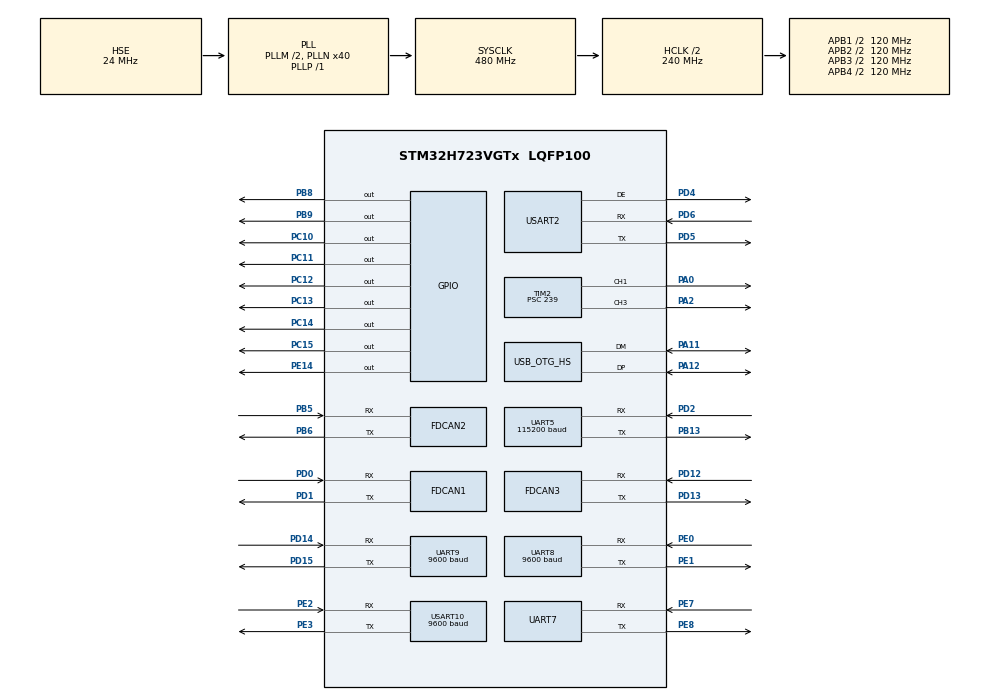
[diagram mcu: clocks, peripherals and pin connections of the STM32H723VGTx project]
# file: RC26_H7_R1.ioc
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CORTEX_M7.AccessPermission-Cortex_Memory_Protection_Unit_Region0_Settings=MPU_REGION_FULL_ACCESS
CORTEX_M7.BaseAddress-Cortex_Memory_Protection_Unit_Region0_Settings=0x20000000
CORTEX_M7.Enable-Cortex_Memory_Protection_Unit_Region0_Settings=MPU_REGION_ENABLE
CORTEX_M7.IsBufferable-Cortex_Memory_Protection_Unit_Region0_Settings=MPU_ACCESS_BUFFERABLE
CORTEX_M7.IsCacheable-Cortex_Memory_Protection_Unit_Region0_Settings=MPU_ACCESS_CACHEABLE
CORTEX_M7.MPU_Control=MPU_PRIVILEGED_DEFAULT
CORTEX_M7.Size-Cortex_Memory_Protection_Unit_Region0_Settings=MPU_REGION_SIZE_512KB
CORTEX_M7.TypeExtField-Cortex_Memory_Protection_Unit_Region0_Settings=MPU_TEX_LEVEL1
CORTEX_M7.default_mode_Activation=0
Dma.Request0=UART5_RX
Dma.Request1=UART7_RX
Dma.Request2=USART2_RX
Dma.UART5_RX.0.Direction=DMA_PERIPH_TO_MEMORY
Dma.UART5_RX.0.EventEnable=DISABLE
Dma.UART5_RX.0.FIFOMode=DMA_FIFOMODE_DISABLE
Dma.UART5_RX.0.Instance=DMA1_Stream2
Dma.UART5_RX.0.MemDataAlignment=DMA_MDATAALIGN_BYTE
Dma.UART5_RX.0.MemInc=DMA_MINC_ENABLE
Dma.UART5_RX.0.Mode=DMA_CIRCULAR
Dma.UART5_RX.0.PeriphDataAlignment=DMA_PDATAALIGN_BYTE
Dma.UART5_RX.0.PeriphInc=DMA_PINC_DISABLE
Dma.UART5_RX.0.Polarity=HAL_DMAMUX_REQ_GEN_RISING
Dma.UART5_RX.0.Priority=DMA_PRIORITY_VERY_HIGH
Dma.UART5_RX.0.RequestNumber=1
Dma.UART5_RX.0.SignalID=NONE
Dma.UART5_RX.0.SyncEnable=DISABLE
Dma.UART5_RX.0.SyncPolarity=HAL_DMAMUX_SYNC_NO_EVENT
Dma.UART5_RX.0.SyncRequestNumber=1
Dma.UART5_RX.0.SyncSignalID=NONE
Dma.UART7_RX.1.Direction=DMA_PERIPH_TO_MEMORY
Dma.UART7_RX.1.EventEnable=DISABLE
Dma.UART7_RX.1.FIFOMode=DMA_FIFOMODE_DISABLE
Dma.UART7_RX.1.Instance=DMA1_Stream3
Dma.UART7_RX.1.MemDataAlignment=DMA_MDATAALIGN_BYTE
Dma.UART7_RX.1.MemInc=DMA_MINC_ENABLE
Dma.UART7_RX.1.Mode=DMA_NORMAL
Dma.UART7_RX.1.PeriphDataAlignment=DMA_PDATAALIGN_BYTE
Dma.UART7_RX.1.PeriphInc=DMA_PINC_DISABLE
Dma.UART7_RX.1.Polarity=HAL_DMAMUX_REQ_GEN_RISING
Dma.UART7_RX.1.Priority=DMA_PRIORITY_LOW
Dma.UART7_RX.1.RequestNumber=1
Dma.UART7_RX.1.SignalID=NONE
Dma.UART7_RX.1.SyncEnable=DISABLE
Dma.UART7_RX.1.SyncPolarity=HAL_DMAMUX_SYNC_NO_EVENT
Dma.UART7_RX.1.SyncRequestNumber=1
Dma.UART7_RX.1.SyncSignalID=NONE
Dma.USART2_RX.2.Direction=DMA_PERIPH_TO_MEMORY
Dma.USART2_RX.2.EventEnable=DISABLE
Dma.USART2_RX.2.FIFOMode=DMA_FIFOMODE_DISABLE
Dma.USART2_RX.2.Instance=DMA1_Stream0
Dma.USART2_RX.2.MemDataAlignment=DMA_MDATAALIGN_BYTE
Dma.USART2_RX.2.MemInc=DMA_MINC_ENABLE
Dma.USART2_RX.2.Mode=DMA_CIRCULAR
Dma.USART2_RX.2.PeriphDataAlignment=DMA_PDATAALIGN_BYTE
Dma.USART2_RX.2.PeriphInc=DMA_PINC_DISABLE
Dma.USART2_RX.2.Polarity=HAL_DMAMUX_REQ_GEN_RISING
Dma.USART2_RX.2.Priority=DMA_PRIORITY_LOW
Dma.USART2_RX.2.RequestNumber=1
Dma.USART2_RX.2.SignalID=NONE
Dma.USART2_RX.2.SyncEnable=DISABLE
Dma.USART2_RX.2.SyncPolarity=HAL_DMAMUX_SYNC_NO_EVENT
Dma.USART2_RX.2.SyncRequestNumber=1
Dma.USART2_RX.2.SyncSignalID=NONE
FDCAN1.CalculateBaudRateNominal=1000000
FDCAN1.CalculateTimeBitNominal=1000
FDCAN1.CalculateTimeQuantumNominal=25.0
FDCAN1.DataPrescaler=3
FDCAN1.DataSyncJumpWidth=10
FDCAN1.DataTimeSeg1=29
FDCAN1.DataTimeSeg2=10
FDCAN1.NominalPrescaler=3
FDCAN1.NominalSyncJumpWidth=10
FDCAN1.NominalTimeSeg1=29
FDCAN1.NominalTimeSeg2=10
FDCAN1.RxFifo0ElmtsNbr=12
FDCAN1.StdFiltersNbr=1
FDCAN1.TxFifoQueueElmtsNbr=12
FDCAN2.CalculateBaudRateNominal=1000000
FDCAN2.CalculateTimeBitNominal=1000
FDCAN2.CalculateTimeQuantumNominal=25.0
FDCAN2.DataPrescaler=3
FDCAN2.DataSyncJumpWidth=10
FDCAN2.DataTimeSeg1=29
FDCAN2.DataTimeSeg2=10
FDCAN2.MessageRAMOffset=854
FDCAN2.NominalPrescaler=3
FDCAN2.NominalSyncJumpWidth=10
FDCAN2.NominalTimeSeg1=29
FDCAN2.NominalTimeSeg2=10
FDCAN2.RxFifo0ElmtsNbr=12
FDCAN2.StdFiltersNbr=1
FDCAN2.TxFifoQueueElmtsNbr=12
FDCAN3.CalculateBaudRateNominal=1000000
FDCAN3.CalculateTimeBitNominal=1000
FDCAN3.CalculateTimeQuantumNominal=25.0
FDCAN3.DataPrescaler=3
FDCAN3.DataSyncJumpWidth=10
FDCAN3.DataTimeSeg1=29
FDCAN3.DataTimeSeg2=10
FDCAN3.MessageRAMOffset=1707
FDCAN3.NominalPrescaler=3
FDCAN3.NominalSyncJumpWidth=10
FDCAN3.NominalTimeSeg1=29
FDCAN3.NominalTimeSeg2=10
FDCAN3.RxFifo0ElmtsNbr=12
FDCAN3.StdFiltersNbr=1
FDCAN3.TxFifoQueueElmtsNbr=12
FREERTOS.Tasks01=defaultTask,24,128,StartDefaultTask,Default,NULL,Dynamic,NULL,NULL;FreeTask,32,128,Free_Task,As weak,NULL,Dynamic,NULL,NULL;SentTask,48,128,Sent_Task,As weak,NULL,Dynamic,NULL,NULL
Mcu.Family=STM32H7
Mcu.Name=STM32H723VGTx
Mcu.Package=LQFP100
NVIC.DMA1_Stream0_IRQn=true\:5\:0\:false\:false\:true\:true\:false\:true\:true
NVIC.DMA1_Stream2_IRQn=true\:5\:0\:true\:false\:true\:true\:false\:true\:true
NVIC.DMA1_Stream3_IRQn=true\:5\:0\:false\:false\:true\:true\:false\:true\:true
NVIC.FDCAN1_IT0_IRQn=true\:6\:0\:true\:false\:true\:true\:true\:true\:true
NVIC.FDCAN2_IT0_IRQn=true\:6\:0\:true\:false\:true\:true\:true\:true\:true
NVIC.FDCAN3_IT0_IRQn=true\:6\:0\:true\:false\:true\:true\:true\:true\:true
NVIC.OTG_HS_IRQn=true\:5\:0\:false\:false\:true\:true\:true\:true\:true
NVIC.PriorityGroup=NVIC_PRIORITYGROUP_4
NVIC.TIM4_IRQn=true\:6\:0\:true\:false\:true\:true\:true\:true\:true
NVIC.TIM5_IRQn=true\:6\:0\:true\:false\:true\:true\:true\:true\:true
NVIC.TIM8_BRK_TIM12_IRQn=true\:5\:0\:false\:false\:true\:true\:true\:true\:true
NVIC.TIM8_UP_TIM13_IRQn=true\:15\:0\:false\:false\:true\:false\:false\:true\:true
NVIC.TimeBase=TIM8_UP_TIM13_IRQn
NVIC.TimeBaseIP=TIM8
NVIC.UART5_IRQn=true\:5\:0\:true\:false\:true\:true\:true\:true\:true
NVIC.UART7_IRQn=true\:5\:0\:true\:false\:true\:true\:true\:true\:true
NVIC.UART8_IRQn=true\:6\:0\:true\:false\:true\:true\:true\:true\:true
NVIC.UART9_IRQn=true\:6\:0\:true\:false\:true\:true\:true\:true\:true
NVIC.USART2_IRQn=true\:5\:0\:false\:false\:true\:true\:true\:true\:true
PA0.Signal=S_TIM2_CH1_ETR
PA11.Mode=Device_Only_FS
PA11.Signal=USB_OTG_HS_DM
PA12.Mode=Device_Only_FS
PA12.Signal=USB_OTG_HS_DP
PA13(JTMS/SWDIO).Mode=Serial_Wire
PA13(JTMS/SWDIO).Signal=DEBUG_JTMS-SWDIO
PA14(JTCK/SWCLK).Mode=Serial_Wire
PA14(JTCK/SWCLK).Signal=DEBUG_JTCK-SWCLK
PA2.Signal=S_TIM2_CH3
PB13.Mode=Asynchronous
PB13.Signal=UART5_TX
PB5.Mode=FDCAN_Activate
PB5.Signal=FDCAN2_RX
PB6.Mode=FDCAN_Activate
PB6.Signal=FDCAN2_TX
PB8.GPIO_PuPd=GPIO_PULLDOWN
PB8.Signal=GPIO_Output
PB9.GPIO_PuPd=GPIO_PULLDOWN
PB9.Signal=GPIO_Output
PC10.GPIO_PuPd=GPIO_PULLDOWN
PC10.Signal=GPIO_Output
PC11.GPIO_PuPd=GPIO_PULLDOWN
PC11.Signal=GPIO_Output
PC12.GPIO_PuPd=GPIO_PULLDOWN
PC12.Signal=GPIO_Output
PC13.GPIO_PuPd=GPIO_PULLUP
PC13.Signal=GPIO_Output
PC14-OSC32_IN.GPIO_PuPd=GPIO_PULLUP
PC14-OSC32_IN.Signal=GPIO_Output
PC15-OSC32_OUT.GPIO_PuPd=GPIO_PULLUP
PC15-OSC32_OUT.Signal=GPIO_Output
PD0.Mode=FDCAN_Activate
PD0.Signal=FDCAN1_RX
PD1.Mode=FDCAN_Activate
PD1.Signal=FDCAN1_TX
PD12.Mode=FDCAN_Activate
PD12.Signal=FDCAN3_RX
PD13.Mode=FDCAN_Activate
PD13.Signal=FDCAN3_TX
PD14.Mode=Asynchronous
PD14.Signal=UART9_RX
PD15.Mode=Asynchronous
PD15.Signal=UART9_TX
PD2.Mode=Asynchronous
PD2.Signal=UART5_RX
PD4.Mode=Hardware Flow Control (RS485)
PD4.Signal=USART2_DE
PD5.Mode=Asynchronous
PD5.Signal=USART2_TX
PD6.Mode=Asynchronous
PD6.Signal=USART2_RX
PE0.Mode=Asynchronous
PE0.Signal=UART8_RX
PE1.Mode=Asynchronous
PE1.Signal=UART8_TX
PE14.GPIO_PuPd=GPIO_PULLDOWN
PE14.Signal=GPIO_Output
PE2.Mode=Asynchronous
PE2.Signal=USART10_RX
PE3.Mode=Asynchronous
PE3.Signal=USART10_TX
PE7.Mode=Asynchronous
PE7.Signal=UART7_RX
PE8.Mode=Asynchronous
PE8.Signal=UART7_TX
PH0-OSC_IN.Mode=HSE-External-Oscillator
PH0-OSC_IN.Signal=RCC_OSC_IN
PH1-OSC_OUT.Mode=HSE-External-Oscillator
PH1-OSC_OUT.Signal=RCC_OSC_OUT
ProjectManager.HeapSize=0x200
ProjectManager.StackSize=0x400
ProjectManager.TargetToolchain=MDK-ARM V5.32
RCC.ADCFreq_Value=48375000
RCC.APB1Freq_Value=120000000
RCC.APB2Freq_Value=120000000
RCC.APB3Freq_Value=120000000
RCC.APB4Freq_Value=120000000
RCC.CortexFreq_Value=480000000
RCC.D1PPRE=RCC_APB3_DIV2
RCC.D2PPRE1=RCC_APB1_DIV2
RCC.D2PPRE2=RCC_APB2_DIV2
RCC.D3PPRE=RCC_APB4_DIV2
RCC.DIVM1=2
RCC.DIVN1=40
RCC.DIVP1=1
RCC.DIVQ1=4
RCC.HCLKFreq_Value=240000000
RCC.HPRE=RCC_HCLK_DIV2
RCC.HSE_VALUE=24000000
RCC.PLL2FRACN=0
RCC.PLL3FRACN=0
RCC.PLLFRACN=0
RCC.PLLSourceVirtual=RCC_PLLSOURCE_HSE
RCC.SYSCLKFreq_VALUE=480000000
RCC.SYSCLKSource=RCC_SYSCLKSOURCE_PLLCLK
RCC.USBCLockSelection=RCC_USBCLKSOURCE_HSI48
RCC.USBFreq_Value=48000000
SH.S_TIM2_CH1_ETR.0=TIM2_CH1,PWM Generation1 CH1
SH.S_TIM2_CH3.0=TIM2_CH3,PWM Generation3 CH3
TIM12.Period=19999
TIM12.Prescaler=23
TIM2.AutoReloadPreload=TIM_AUTORELOAD_PRELOAD_ENABLE
TIM2.Channel-PWM\ Generation1\ CH1=TIM_CHANNEL_1
TIM2.Channel-PWM\ Generation3\ CH3=TIM_CHANNEL_3
TIM2.Period=19999
TIM2.Prescaler=239
TIM4.Period=9999
TIM4.Prescaler=239
TIM5.Period=39999
TIM5.Prescaler=23
UART5.BaudRate=115200
UART5.Parity=PARITY_NONE
UART5.RxPinLevelInvertParam=UART_ADVFEATURE_RXINV_ENABLE
UART5.StopBits=UART_STOPBITS_1
UART5.WordLength=WORDLENGTH_8B
UART8.BaudRate=9600
UART9.BaudRate=9600
USART10.BaudRate=9600
USART10.VirtualMode=VM_ASYNC
USART2.VirtualMode-Asynchronous=VM_ASYNC
USART2.VirtualMode-Hardware\ Flow\ Control\ (RS485)=VM_ASYNC
USB_DEVICE.CLASS_NAME_HS=CDC
USB_DEVICE.VirtualMode=Cdc
USB_DEVICE.VirtualModeHS=Cdc_HS
USB_OTG_HS.VirtualMode-Device_Only_FS=Device_Only_FS
VP_FREERTOS_VS_CMSIS_V2.Mode=CMSIS_V2
VP_MEMORYMAP_VS_MEMORYMAP.Mode=CurAppReg
VP_SYS_VS_tim8.Mode=TIM8
VP_TIM12_VS_ClockSourceINT.Mode=Internal
VP_TIM2_VS_ClockSourceINT.Mode=Internal
VP_TIM4_VS_ClockSourceINT.Mode=Internal
VP_TIM5_VS_ClockSourceINT.Mode=Internal
VP_USB_DEVICE_VS_USB_DEVICE_CDC_HS.Mode=CDC_HS
board=custom

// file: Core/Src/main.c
/* USER CODE BEGIN Header */
/**
  ******************************************************************************
  * @file           : main.c
  * @brief          : Main program body
  ******************************************************************************
  * @attention
  *
  * Copyright (c) 2026 STMicroelectronics.
  * All rights reserved.
  *
  * This software is licensed under terms that can be found in the LICENSE file
  * in the root directory of this software component.
  * If no LICENSE file comes with this software, it is provided AS-IS.
  *
  ******************************************************************************
  */
/* USER CODE END Header */
#include "main.h"
#include "FreeRTOS.h"
#include "cmsis_os2.h"
#include "dma.h"
#include "fdcan.h"
#include "tim.h"
#include "usart.h"
#include "usb_device.h"
#include "gpio.h"

/* USER CODE BEGIN Includes */
#include "register.h"
#include "bsp_can.h"
#include "bsp_uart.h"
/* USER CODE END Includes */

void SystemClock_Config(void);
static void MPU_Config(void);
void MX_FREERTOS_Init(void);

int main(void)
{

  /* MPU Configuration--------------------------------------------------------*/
  MPU_Config();

  /* MCU Configuration--------------------------------------------------------*/

  /* Reset of all peripherals, Initializes the Flash interface and the Systick. */
  HAL_Init();

  /* Configure the system clock */
  SystemClock_Config();

  /* Initialize all configured peripherals */
  MX_GPIO_Init();
  MX_DMA_Init();
  MX_TIM2_Init();
  MX_TIM4_Init();
  MX_UART5_Init();
  MX_UART7_Init();
  MX_FDCAN1_Init();
  MX_FDCAN2_Init();
  MX_FDCAN3_Init();
  MX_TIM5_Init();
  MX_UART8_Init();
  MX_TIM12_Init();
  MX_USART2_UART_Init();
  MX_UART9_Init();
  MX_USART10_UART_Init();
  /* USER CODE BEGIN 2 */
  BSP_CAN_Init();
  BSP_USART_Init();

  HAL_Delay(1500);
  Structue_Init();
	HAL_Delay(5);
	HAL_GPIO_WritePin(GPIOC,GPIO_PIN_15,GPIO_PIN_SET);
	HAL_TIM_Base_Start(&htim2);
  HAL_TIM_PWM_Start(&htim2,TIM_CHANNEL_1 );
  HAL_TIM_PWM_Start(&htim2,TIM_CHANNEL_3 );

	HAL_TIM_Base_Start(&htim4);
	HAL_TIM_Base_Start_IT(&htim4);
	HAL_TIM_Base_Start(&htim5);
	HAL_TIM_Base_Start_IT(&htim5);
	 __HAL_TIM_SET_COMPARE(&htim2,TIM_CHANNEL_1,1600);
	 __HAL_TIM_SET_COMPARE(&htim2,TIM_CHANNEL_3,2500);
  /* USER CODE END 2 */

  /* Init scheduler */
  osKernelInitialize();  /* Call init function for freertos objects (in cmsis_os2.c) */
  MX_FREERTOS_Init();

  /* Start scheduler */
  osKernelStart();

  /* We should never get here as control is now taken by the scheduler */

  /* Infinite loop */
  while (1)
  {

  }
}

void SystemClock_Config(void)
{
  RCC_OscInitTypeDef RCC_OscInitStruct = {0};
  RCC_ClkInitTypeDef RCC_ClkInitStruct = {0};

  /** Supply configuration update enable
  */
  HAL_PWREx_ConfigSupply(PWR_LDO_SUPPLY);

  /** Configure the main internal regulator output voltage
  */
  __HAL_PWR_VOLTAGESCALING_CONFIG(PWR_REGULATOR_VOLTAGE_SCALE0);

  while(!__HAL_PWR_GET_FLAG(PWR_FLAG_VOSRDY)) {}

  /** Initializes the RCC Oscillators according to the specified parameters
  * in the RCC_OscInitTypeDef structure.
  */
  RCC_OscInitStruct.OscillatorType = RCC_OSCILLATORTYPE_HSI48|RCC_OSCILLATORTYPE_HSE;
  RCC_OscInitStruct.HSEState = RCC_HSE_ON;
  RCC_OscInitStruct.HSI48State = RCC_HSI48_ON;
  RCC_OscInitStruct.PLL.PLLState = RCC_PLL_ON;
  RCC_OscInitStruct.PLL.PLLSource = RCC_PLLSOURCE_HSE;
  RCC_OscInitStruct.PLL.PLLM = 2;
  RCC_OscInitStruct.PLL.PLLN = 40;
  RCC_OscInitStruct.PLL.PLLP = 1;
  RCC_OscInitStruct.PLL.PLLQ = 4;
  RCC_OscInitStruct.PLL.PLLR = 2;
  RCC_OscInitStruct.PLL.PLLRGE = RCC_PLL1VCIRANGE_3;
  RCC_OscInitStruct.PLL.PLLVCOSEL = RCC_PLL1VCOWIDE;
  RCC_OscInitStruct.PLL.PLLFRACN = 0;
  if (HAL_RCC_OscConfig(&RCC_OscInitStruct) != HAL_OK)
  {
    Error_Handler();
  }

  /** Initializes the CPU, AHB and APB buses clocks
  */
  RCC_ClkInitStruct.ClockType = RCC_CLOCKTYPE_HCLK|RCC_CLOCKTYPE_SYSCLK
                              |RCC_CLOCKTYPE_PCLK1|RCC_CLOCKTYPE_PCLK2
                              |RCC_CLOCKTYPE_D3PCLK1|RCC_CLOCKTYPE_D1PCLK1;
  RCC_ClkInitStruct.SYSCLKSource = RCC_SYSCLKSOURCE_PLLCLK;
  RCC_ClkInitStruct.SYSCLKDivider = RCC_SYSCLK_DIV1;
  RCC_ClkInitStruct.AHBCLKDivider = RCC_HCLK_DIV2;
  RCC_ClkInitStruct.APB3CLKDivider = RCC_APB3_DIV2;
  RCC_ClkInitStruct.APB1CLKDivider = RCC_APB1_DIV2;
  RCC_ClkInitStruct.APB2CLKDivider = RCC_APB2_DIV2;
  RCC_ClkInitStruct.APB4CLKDivider = RCC_APB4_DIV2;

  if (HAL_RCC_ClockConfig(&RCC_ClkInitStruct, FLASH_LATENCY_3) != HAL_OK)
  {
    Error_Handler();
  }
}

 /* MPU Configuration */

void MPU_Config(void)
{
  MPU_Region_InitTypeDef MPU_InitStruct = {0};

  /* Disables the MPU */
  HAL_MPU_Disable();

  /** Initializes and configures the Region and the memory to be protected
  */
  MPU_InitStruct.Enable = MPU_REGION_ENABLE;
  MPU_InitStruct.Number = MPU_REGION_NUMBER0;
  MPU_InitStruct.BaseAddress = 0x20000000;
  MPU_InitStruct.Size = MPU_REGION_SIZE_512KB;
  MPU_InitStruct.SubRegionDisable = 0x0;
  MPU_InitStruct.TypeExtField = MPU_TEX_LEVEL1;
  MPU_InitStruct.AccessPermission = MPU_REGION_FULL_ACCESS;
  MPU_InitStruct.DisableExec = MPU_INSTRUCTION_ACCESS_ENABLE;
  MPU_InitStruct.IsShareable = MPU_ACCESS_NOT_SHAREABLE;
  MPU_InitStruct.IsCacheable = MPU_ACCESS_CACHEABLE;
  MPU_InitStruct.IsBufferable = MPU_ACCESS_BUFFERABLE;

  HAL_MPU_ConfigRegion(&MPU_InitStruct);
  /* Enables the MPU */
  HAL_MPU_Enable(MPU_PRIVILEGED_DEFAULT);

}

void HAL_TIM_PeriodElapsedCallback(TIM_HandleTypeDef *htim)
{
  if (htim->Instance == TIM8)
  {
    HAL_IncTick();
  }
}

void Error_Handler(void)
{
  __disable_irq();
  while (1)
  {
  }
}

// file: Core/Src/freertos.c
/* USER CODE BEGIN Header */
/**
  ******************************************************************************
  * File Name          : freertos.c
  * Description        : Code for freertos applications
  ******************************************************************************
  * @attention
  *
  * Copyright (c) 2026 STMicroelectronics.
  * All rights reserved.
  *
  * This software is licensed under terms that can be found in the LICENSE file
  * in the root directory of this software component.
  * If no LICENSE file comes with this software, it is provided AS-IS.
  *
  ******************************************************************************
  */
/* USER CODE END Header */

#include "FreeRTOS.h"
#include "task.h"
#include "main.h"
#include "FreeRTOS.h"
#include "cmsis_os2.h"

/* USER CODE BEGIN Includes */
#include "Sensor_Task.h"
/* USER CODE END Includes */

/* Definitions for defaultTask */
osThreadId_t defaultTaskHandle;
const osThreadAttr_t defaultTask_attributes = {
  .name = "defaultTask",
  .stack_size = 128 * 4,
  .priority = (osPriority_t) osPriorityNormal,
};
/* Definitions for FreeTask */
osThreadId_t FreeTaskHandle;
const osThreadAttr_t FreeTask_attributes = {
  .name = "FreeTask",
  .stack_size = 128 * 4,
  .priority = (osPriority_t) osPriorityAboveNormal,
};
/* Definitions for SentTask */
osThreadId_t SentTaskHandle;
const osThreadAttr_t SentTask_attributes = {
  .name = "SentTask",
  .stack_size = 128 * 4,
  .priority = (osPriority_t) osPriorityRealtime,
};
/* Definitions for SensorTask */
osThreadId_t SensorTaskHandle;
const osThreadAttr_t SensorTask_attributes = {
  .name = "SensorTask",
  .stack_size = 512 * 4,
  .priority = (osPriority_t) osPriorityLow,
};

void StartDefaultTask(void *argument);
void Free_Task(void *argument);
void Sent_Task(void *argument);
void Sensor_Task(void *argument);

extern void MX_USB_DEVICE_Init(void);
void MX_FREERTOS_Init(void); /* (MISRA C 2004 rule 8.1) */

void MX_FREERTOS_Init(void) {

  /* Create the thread(s) */
  /* creation of defaultTask */
  defaultTaskHandle = osThreadNew(StartDefaultTask, NULL, &defaultTask_attributes);

  /* creation of FreeTask */
  FreeTaskHandle = osThreadNew(Free_Task, NULL, &FreeTask_attributes);

  /* creation of SentTask */
  SentTaskHandle = osThreadNew(Sent_Task, NULL, &SentTask_attributes);

  /* creation of SensorTask */
  SensorTaskHandle = osThreadNew(Sensor_Task, NULL, &SensorTask_attributes);

}

void StartDefaultTask(void *argument)
{
  /* init code for USB_DEVICE */
  MX_USB_DEVICE_Init();
  for(;;)
  {
    osDelay(1);
  }
}

__weak void Free_Task(void *argument)
{
  for(;;)
  {
    osDelay(1);
  }
}

__weak void Sent_Task(void *argument)
{
  for(;;)
  {
    osDelay(1);
  }
}
